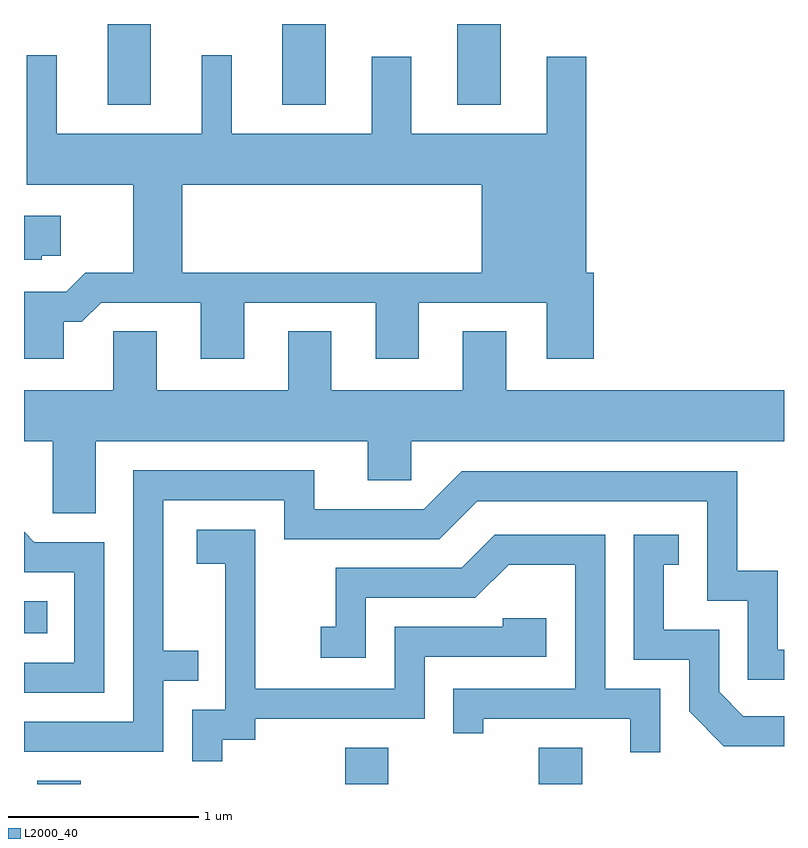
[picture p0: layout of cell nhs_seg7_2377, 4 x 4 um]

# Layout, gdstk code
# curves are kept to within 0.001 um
import gdstk
lib = gdstk.Library(unit=1e-6, precision=1e-09)
def R(c, l, rs):  # rectangles x0, y0, x1, y1
    for r in rs: c.add(gdstk.rectangle(r[:2], r[2:], *l))
def A(c, l, x, y, w, h, nx, ny, dx, dy):  # array of equal rectangles
    R(c, l, [(x+i*dx, y+j*dy, x+i*dx+w, y+j*dy+h) for i in range(nx) for j in range(ny)])
def P(c, l, *ps):  # polygons
    for p in ps: c.add(gdstk.Polygon(p, *l))
L2000_40 = (2000, 40)

nhs_seg7_2377 = lib.new_cell('nhs_seg7_2377')
A(nhs_seg7_2377, L2000_40, 258.051, 1753.826, 0.228, 0.426, 3, 1, 0.92, 0)
R(nhs_seg7_2377, L2000_40, [(257.681,1750.252,257.909,1750.269), (259.301,1750.252,259.529,1750.444), (260.321,1750.252,260.549,1750.444), (257.611,1751.046,257.733,1751.214)])
P(nhs_seg7_2377, L2000_40, [(257.819,1752.686),(257.916,1752.686),(258.017,1752.786),(258.541,1752.786),(258.541,1752.491),(258.769,1752.491),(258.769,1752.786),(259.461,1752.786),(259.461,1752.491),(259.689,1752.491),(259.689,1752.786),(260.361,1752.786),(260.361,1752.491),(260.609,1752.491),(260.609,1752.944),(260.569,1752.944),(260.569,1754.079),(260.361,1754.079),(260.361,1753.674),(259.649,1753.674),(259.649,1754.079),(259.441,1754.079),(259.441,1753.674),(258.704,1753.674),(258.704,1754.088),(258.546,1754.088),(258.546,1753.674),(257.784,1753.674),(257.784,1754.088),(257.626,1754.088),(257.626,1753.406),(258.186,1753.406),(258.186,1752.944),(258.444,1752.944),(258.444,1753.406),(260.021,1753.406),(260.021,1752.944),(257.933,1752.944),(257.834,1752.844),(257.611,1752.844),(257.611,1752.491),(257.819,1752.491)],
  [(257.704,1753.031),(257.804,1753.031),(257.804,1753.244),(257.611,1753.244),(257.611,1753.011),(257.704,1753.011)],
  [(257.989,1752.056),(259.421,1752.056),(259.421,1751.851),(259.649,1751.851),(259.649,1752.056),(261.611,1752.056),(261.611,1752.324),(260.149,1752.324),(260.149,1752.634),(259.921,1752.634),(259.921,1752.324),(259.229,1752.324),(259.229,1752.634),(259.001,1752.634),(259.001,1752.324),(258.309,1752.324),(258.309,1752.634),(258.081,1752.634),(258.081,1752.324),(257.611,1752.324),(257.611,1752.056),(257.761,1752.056),(257.761,1751.676),(257.989,1751.676)],
  [(258.344,1750.796),(258.528,1750.796),(258.528,1750.954),(258.344,1750.954),(258.344,1751.746),(258.981,1751.746),(258.981,1751.541),(259.796,1751.541),(259.997,1751.741),(261.206,1751.741),(261.206,1751.216),(261.421,1751.216),(261.421,1750.801),(261.611,1750.801),(261.611,1750.959),(261.579,1750.959),(261.579,1751.374),(261.364,1751.374),(261.364,1751.899),(259.914,1751.899),(259.714,1751.699),(259.139,1751.699),(259.139,1751.904),(258.186,1751.904),(258.186,1750.579),(257.611,1750.579),(257.611,1750.421),(258.344,1750.421)],
  [(258.654,1750.486),(258.829,1750.486),(258.829,1750.596),(259.719,1750.596),(259.719,1750.921),(260.359,1750.921),(260.359,1751.124),(260.131,1751.124),(260.131,1751.079),(259.561,1751.079),(259.561,1750.754),(258.829,1750.754),(258.829,1751.589),(258.521,1751.589),(258.521,1751.411),(258.671,1751.411),(258.671,1750.644),(258.496,1750.644),(258.496,1750.373),(258.654,1750.373)],
  [(258.034,1751.524),(257.666,1751.524),(257.611,1751.579),(257.611,1751.366),(257.876,1751.366),(257.876,1750.889),(257.611,1750.889),(257.611,1750.731),(258.034,1750.731)],
  [(260.959,1750.754),(260.669,1750.754),(260.669,1751.564),(260.089,1751.564),(259.914,1751.389),(259.251,1751.389),(259.251,1751.079),(259.173,1751.079),(259.173,1750.916),(259.409,1750.916),(259.409,1751.231),(259.986,1751.231),(260.162,1751.406),(260.511,1751.406),(260.511,1750.754),(259.871,1750.754),(259.871,1750.518),(260.029,1750.518),(260.029,1750.596),(260.801,1750.596),(260.801,1750.418),(260.959,1750.418)],
  [(261.611,1750.609),(261.397,1750.609),(261.269,1750.737),(261.269,1751.064),(260.979,1751.064),(260.979,1751.406),(261.058,1751.406),(261.058,1751.564),(260.821,1751.564),(260.821,1750.906),(261.111,1750.906),(261.111,1750.634),(261.294,1750.451),(261.611,1750.451)])

lib.write_gds('nhs_seg7_2377.gds')
